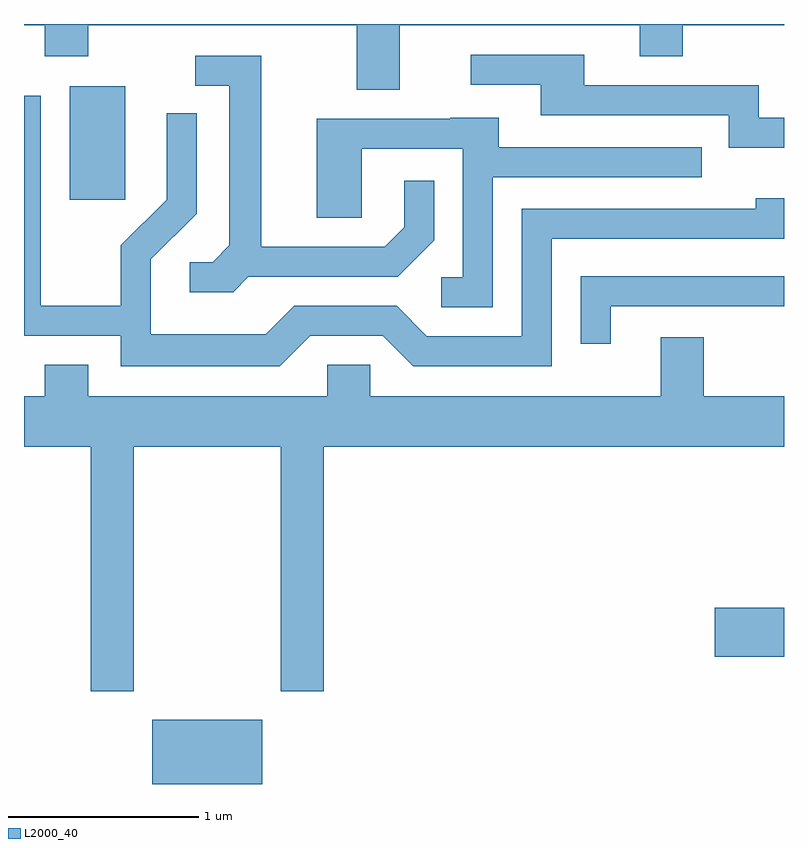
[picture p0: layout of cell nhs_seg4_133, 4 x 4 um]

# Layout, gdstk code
import gdstk
lib = gdstk.Library(unit=1e-6, precision=1e-09)
def R(c, l, rs):  # rectangles x0, y0, x1, y1
    for r in rs: c.add(gdstk.rectangle(r[:2], r[2:], *l))
def P(c, l, *ps):  # polygons
    for p in ps: c.add(gdstk.Polygon(p, *l))
L2000_40 = (2000, 40)

nhs_seg4_133 = lib.new_cell('nhs_seg4_133')
R(nhs_seg4_133, L2000_40, [(188.286,1383.982,188.864,1384.319), (191.246,1384.651,191.611,1384.909), (187.851,1387.056,188.144,1387.654)])
P(nhs_seg4_133, L2000_40, [(189.589,1387.976),(190.851,1387.976),(190.851,1387.811),(191.079,1387.811),(191.079,1387.976),(191.611,1387.976),(191.611,1387.982),(187.611,1387.982),(187.611,1387.976),(187.721,1387.976),(187.721,1387.811),(187.949,1387.811),(187.949,1387.976),(189.361,1387.976),(189.361,1387.636),(189.589,1387.636)],
  [(191.611,1387.489),(191.479,1387.489),(191.479,1387.659),(190.559,1387.659),(190.559,1387.819),(189.963,1387.819),(189.963,1387.661),(190.331,1387.661),(190.331,1387.501),(191.321,1387.501),(191.321,1387.331),(191.611,1387.331)],
  [(188.792,1386.651),(189.577,1386.651),(189.769,1386.844),(189.769,1387.158),(189.611,1387.158),(189.611,1386.912),(189.509,1386.809),(188.859,1386.809),(188.859,1387.814),(188.513,1387.814),(188.513,1387.656),(188.691,1387.656),(188.691,1386.817),(188.604,1386.729),(188.483,1386.729),(188.483,1386.571),(188.712,1386.571)],
  [(189.117,1386.341),(189.499,1386.341),(189.659,1386.181),(190.389,1386.181),(190.389,1386.851),(191.611,1386.851),(191.611,1387.064),(191.461,1387.064),(191.461,1387.009),(190.231,1387.009),(190.231,1386.339),(189.732,1386.339),(189.572,1386.499),(189.034,1386.499),(188.884,1386.349),(188.279,1386.349),(188.279,1386.744),(188.519,1386.984),(188.519,1387.513),(188.361,1387.513),(188.361,1387.057),(188.121,1386.817),(188.121,1386.499),(187.699,1386.499),(187.699,1387.604),(187.611,1387.604),(187.611,1386.341),(188.121,1386.341),(188.121,1386.181),(188.957,1386.181)],
  [(190.079,1387.176),(191.178,1387.176),(191.178,1387.334),(190.109,1387.334),(190.109,1387.489),(189.855,1387.489),(189.855,1387.484),(189.151,1387.484),(189.151,1386.961),(189.389,1386.961),(189.389,1387.326),(189.921,1387.326),(189.921,1386.649),(189.808,1386.649),(189.808,1386.491),(190.079,1386.491)],
  [(190.699,1386.496),(191.611,1386.496),(191.611,1386.654),(190.541,1386.654),(190.541,1386.298),(190.699,1386.298)],
  [(188.189,1385.756),(188.961,1385.756),(188.961,1384.471),(189.189,1384.471),(189.189,1385.756),(191.611,1385.756),(191.611,1386.024),(191.189,1386.024),(191.189,1386.334),(190.961,1386.334),(190.961,1386.024),(189.434,1386.024),(189.434,1386.189),(189.206,1386.189),(189.206,1386.024),(187.949,1386.024),(187.949,1386.189),(187.721,1386.189),(187.721,1386.024),(187.611,1386.024),(187.611,1385.756),(187.961,1385.756),(187.961,1384.471),(188.189,1384.471)])

lib.write_gds('nhs_seg4_133.gds')
